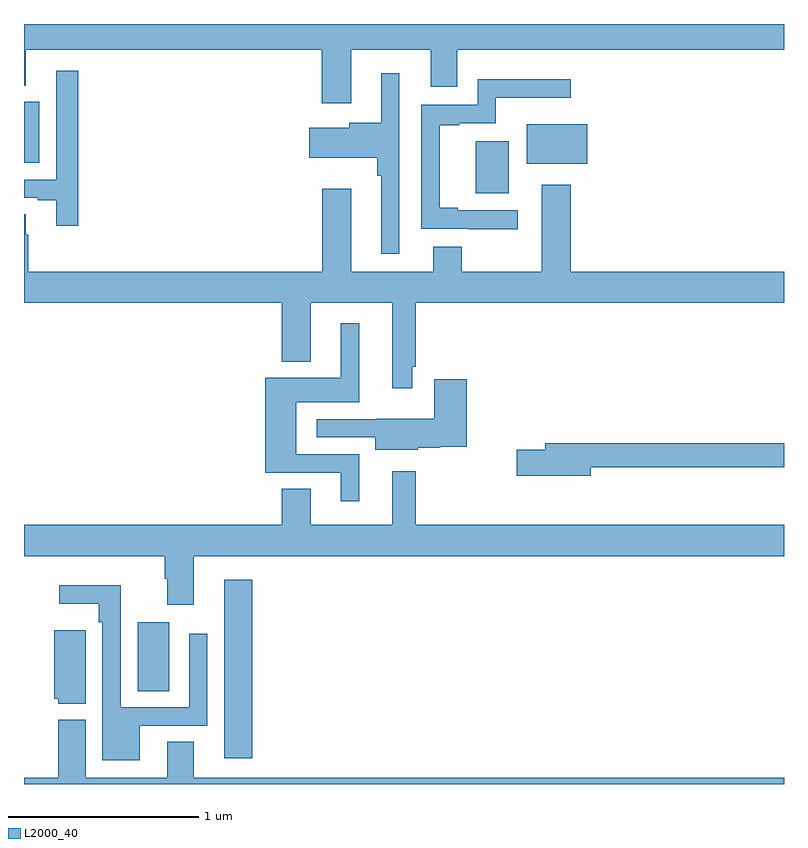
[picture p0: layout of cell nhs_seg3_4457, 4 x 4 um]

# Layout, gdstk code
import gdstk
lib = gdstk.Library(unit=1e-6, precision=1e-09)
def R(c, l, rs):  # rectangles x0, y0, x1, y1
    for r in rs: c.add(gdstk.rectangle(r[:2], r[2:], *l))
def P(c, l, *ps):  # polygons
    for p in ps: c.add(gdstk.Polygon(p, *l))
L2000_40 = (2000, 40)

nhs_seg3_4457 = lib.new_cell('nhs_seg3_4457')
R(nhs_seg3_4457, L2000_40, [(350.054,682.536,350.201,683.476), (349.598,682.888,349.765,683.251), (351.377,685.508,351.55,685.783), (351.647,685.664,351.964,685.873), (349,685.67,349.081,685.99)])
P(nhs_seg3_4457, L2000_40, [(350.722,686.264),(351.14,686.264),(351.14,686.07),(351.28,686.07),(351.28,686.264),(353,686.264),(353,686.4),(349,686.4),(349,686.075),(349.009,686.075),(349.009,686.264),(350.567,686.264),(350.567,685.983),(350.722,685.983)],
  [(349.286,686.155),(349.17,686.155),(349.17,685.581),(349,685.581),(349,685.485),(349.073,685.485),(349.073,685.473),(349.169,685.473),(349.169,685.338),(349.286,685.338)],
  [(350.976,686.14),(350.879,686.14),(350.879,685.879),(350.712,685.879),(350.712,685.855),(350.502,685.855),(350.502,685.697),(350.86,685.697),(350.86,685.601),(350.879,685.601),(350.879,685.191),(350.976,685.191)],
  [(351.598,685.419),(351.283,685.419),(351.283,685.432),(351.188,685.432),(351.188,685.866),(351.29,685.866),(351.29,685.878),(351.484,685.878),(351.484,686.012),(351.877,686.012),(351.877,686.11),(351.387,686.11),(351.387,685.974),(351.09,685.974),(351.09,685.323),(351.339,685.323),(351.339,685.321),(351.598,685.321)],
  [(353,685.096),(351.878,685.096),(351.878,685.555),(351.725,685.555),(351.725,685.096),(351.303,685.096),(351.303,685.228),(351.155,685.228),(351.155,685.096),(350.722,685.096),(350.722,685.534),(350.57,685.534),(350.57,685.096),(349.022,685.096),(349.022,685.292),(349.009,685.292),(349.009,685.4),(349,685.4),(349,684.932),(350.357,684.932),(350.357,684.623),(350.509,684.623),(350.509,684.932),(350.939,684.932),(350.939,684.483),(351.043,684.483),(351.043,684.595),(351.061,684.595),(351.061,684.932),(353,684.932)],
  [(350.764,684.135),(350.434,684.135),(350.434,684.41),(350.764,684.41),(350.764,684.826),(350.666,684.826),(350.666,684.538),(350.27,684.538),(350.27,684.039),(350.666,684.039),(350.666,683.889),(350.764,683.889)],
  [(351.072,684.169),(351.192,684.169),(351.192,684.176),(351.329,684.176),(351.329,684.529),(351.158,684.529),(351.158,684.322),(350.853,684.322),(350.853,684.321),(350.541,684.321),(350.541,684.225),(350.849,684.225),(350.849,684.158),(351.072,684.158)],
  [(351.982,684.066),(353,684.066),(353,684.194),(351.743,684.194),(351.743,684.158),(351.594,684.158),(351.594,684.023),(351.982,684.023)],
  [(349.894,683.6),(353,683.6),(353,683.764),(351.061,683.764),(351.061,684.046),(350.939,684.046),(350.939,683.764),(350.509,683.764),(350.509,683.954),(350.357,683.954),(350.357,683.764),(349,683.764),(349,683.6),(349.742,683.6),(349.742,683.48),(349.754,683.48),(349.754,683.343),(349.894,683.343)],
  [(349.609,682.707),(349.965,682.707),(349.965,683.191),(349.869,683.191),(349.869,682.803),(349.509,682.803),(349.509,683.446),(349.185,683.446),(349.185,683.348),(349.393,683.348),(349.393,683.252),(349.413,683.252),(349.413,682.526),(349.609,682.526)],
  [(349.324,683.209),(349.16,683.209),(349.16,682.848),(349.179,682.848),(349.179,682.823),(349.324,682.823)],
  [(353,682.432),(349.894,682.432),(349.894,682.622),(349.754,682.622),(349.754,682.432),(349.324,682.432),(349.324,682.738),(349.181,682.738),(349.181,682.432),(349,682.432),(349,682.4),(353,682.4)])

lib.write_gds('nhs_seg3_4457.gds')
